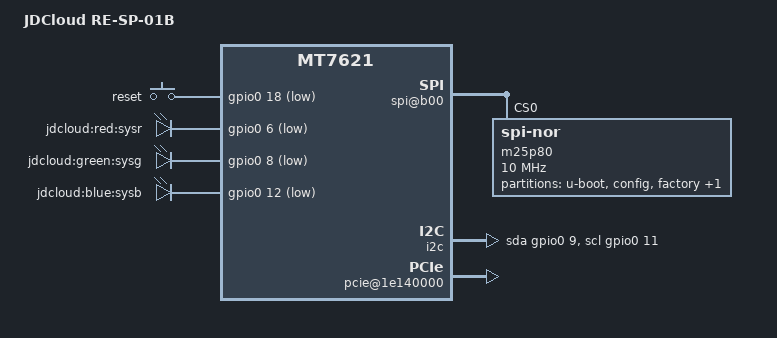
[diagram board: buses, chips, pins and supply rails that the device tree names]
/dts-v1/;

/include/ "mt7621.dtsi"

/ {
	compatible = "jdcloud-re-sp-01b", "mediatek,mt7621-soc";
	model = "JDCloud RE-SP-01B";

	chosen {
		bootargs = "console=ttyS0,115200";
	};

	palmbus@1E000000 {
		spi@b00 {
			status = "okay";

			m25p80@0 {
				#address-cells = <1>;
				#size-cells = <1>;
				compatible = "jedec,spi-nor";
				reg = <0 0>;
				spi-max-frequency = <10000000>;

				partition@0 {
					label = "u-boot";
					reg = <0x0 0x30000>;
				};

				partition@30000 {
					label = "config";
					reg = <0x30000 0x10000>;
				};

				factory: partition@40000 {
					label = "factory";
					reg = <0x40000 0x10000>;
				};

				partition@50000 {
					label = "firmware";
					reg = <0x50000 0x1fb0000>;
				};

			};
		};

		i2c {
			compatible = "i2c-gpio";
			// <&gpio0 9> is gpio 9 (R65 right)(SDA), <&gpio1 11> is gpio 11(R59 right) (SCL)
			gpios = <&gpio0 9 0>, <&gpio0 11 0>;
			i2c-gpio,delay-us = <5>;
			#address-cells = <1>;
			#size-cells = <0>;
		};
	};

	pcie@1e140000 {
		status = "okay";

		pcie0 {
			mt76@0,0 {
				reg = <0x0000 0 0 0 0>;
				device_type = "pci";
				mediatek,mtd-eeprom = <&factory 0x0000>;
				mediatek,2ghz = <0>;
			};
		};

		pcie1 {
			mt76@1,0 {
				reg = <0x0000 0 0 0 0>;
				device_type = "pci";
				mediatek,mtd-eeprom = <&factory 0x8000>;
				mediatek,5ghz = <0>;
			};
		};
	};

	ethernet@1e100000 {
		mtd-mac-address = <&factory 0xe000>;
	};

	gpio-keys-polled {
		compatible = "gpio-keys-polled";
		#address-cells = <1>;
		#size-cells = <0>;
		poll-interval = <20>;

		reset {
			label = "reset";
			gpios = <&gpio0 18 1>;
			linux,code = <0x198>;
		};
	};

	gpio-leds {
		compatible = "gpio-leds";

		sysr {
			label = "jdcloud:red:sysr";
			gpios = <&gpio0 6 1>;
		};

		sysg {
			label = "jdcloud:green:sysg";
			gpios = <&gpio0 8 1>;
		};

		sysb {
			label = "jdcloud:blue:sysb";
			gpios = <&gpio0 12 1>;
		};
	};

	pinctrl {
		state_default: pinctrl0 {
			gpio {
				ralink,group = "uart2", "uart3", "wdt", "i2c";
				ralink,function = "gpio";
			};
		};
	};
};
